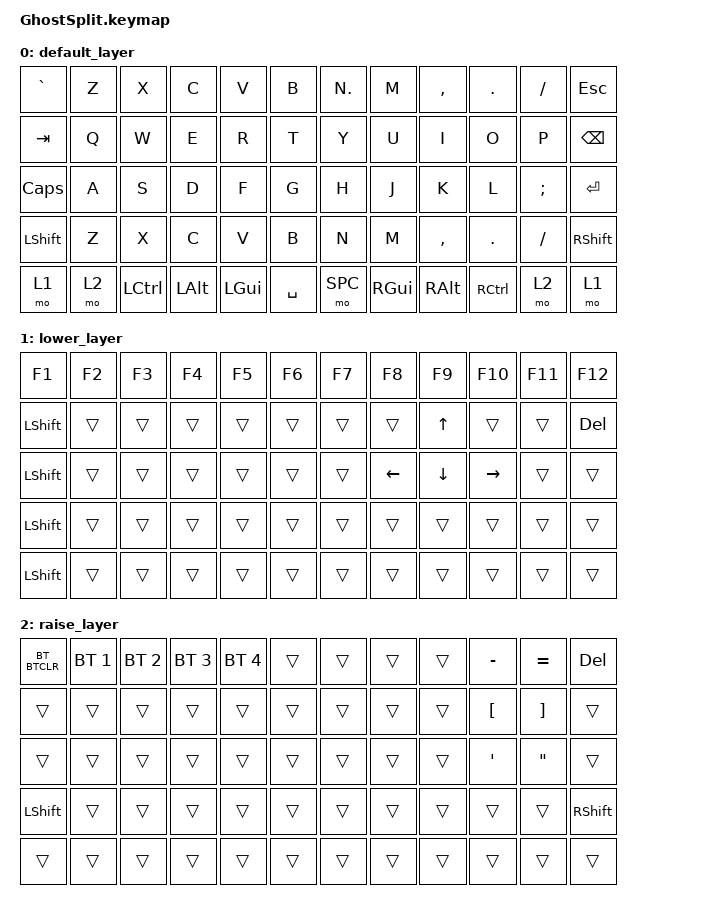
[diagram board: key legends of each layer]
/*
 * Copyright (c) 2020 The ZMK Contributors
 *
 * SPDX-License-Identifier: MIT
 */

#include <behaviors.dtsi>
#include <dt-bindings/zmk/keys.h>
#include <dt-bindings/zmk/bt.h>

/ {
        keymap {
                compatible = "zmk,keymap";

                default_layer {
// -----------------------------------------------------------------------------------------
// |  `   |  1  |  2  |  3  |  4  |  5  |   |  6  |  7   |  8  |  9  |  0  | BKSP |
// | TAB  |  Q  |  W  |  E  |  R  |  T  |   |  Y  |  U   |  I  |  O  |  P  |  \   |
// | CAP  |  A  |  S  |  D  |  F  |  G  |   |  H  |  J   |  K  |  L  |  ;  | ENT  |
// |LSHFT |  Z  |  X  |  C  |  V  |  B  |   |  N  |  M   |  ,  |  .  |  /  | RSHFT|
// | FN1  | FN2 |LCTRL|LALT |LGUI | SPC |   | SPC | RGUI | RALT|RCTRL| FN2 | FN1  |


                        bindings = <
   &kp GRAVE       &kp Z      &kp X      &kp C     &kp V     &kp B           &kp N.   &kp M      &kp COMMA     &kp DOT      &kp FSLH     &kp ESC
   &kp TAB         &kp Q      &kp W      &kp E     &kp R     &kp T           &kp Y    &kp U      &kp I         &kp O        &kp P        &kp BSPC
   &kp CAPS        &kp A      &kp S      &kp D     &kp F     &kp G           &kp H    &kp J      &kp K         &kp L        &kp SEMI     &kp RET
   &kp LSHFT       &kp Z      &kp X      &kp C     &kp V     &kp B           &kp N    &kp M      &kp COMMA     &kp DOT      &kp FSLH     &kp RSHFT
   &mo 1           &mo 2      &kp LCTRL  &kp LALT  &kp LGUI  &kp SPC         &mo SPC  &kp RGUI   &kp RALT      &kp RCTL     &mo 2        &mo 1

                        >;
                };


                lower_layer {
// -----------------------------------------------------------------------------------------
// |  FN1 |FN2  |FN3  |FN4  |FN5  |FN6  |   | FN7 |FN8  |FN9  |FN10 | FN11| FN12 |
// |      |     |     |     |     |     |   |     |     |  UP |     |     | DEL  |
// |      |     |     |     |     |     |   |     |  LF |  DN |  RT |     |      |
// | LSHFT|     |     |     |     |     |   |     |     |     |     |     |      |
// |      |     |     |     |     |     |   |     |     |     |     |     |      |



                        bindings = < 
   &kp F1        &kp F2       &kp F3       &kp F4       &kp F5       &kp F6         &kp F7       &kp F8           &kp F9        &kp F10  	 &kp F11        &kp F12 
   &kp LSHFT     &trans       &trans       &trans       &trans       &trans         &trans  	 &trans  	  &kp UP	&trans 	  	 &trans 	&kp DEL
   &kp LSHFT     &trans       &trans       &trans       &trans       &trans         &trans  	 &kp LEFT 	  &kp DOWN 	&kp RIGHT 	 &trans 	&trans
   &kp LSHFT  	 &trans       &trans       &trans       &trans       &trans         &trans  	 &trans 	  &trans 	&trans   	 &trans 	&trans
   &kp LSHFT  	 &trans       &trans       &trans       &trans       &trans         &trans     	 &trans  	  &trans 	&trans    	 &trans 	&trans
                        >;	
                };



                raise_layer {
// -----------------------------------------------------------------------------------------
// | BTCLR| BT1 | BT2 | BT3 | BT4 |     |   |     |     |     |  -  |  =  | DEL  |
// |      |     |     |     |     |     |   |     |     |     |  [  |  ]  |      |
// |      |     |     |     |     |     |   |     |     |     |  '  |  "  |      |
// | LSHFT|     |     |     |     |     |   |     |     |     |     |     |RSHFT |
// |      |     |     |     |     |     |   |     |     |     |     |     |      |



                        bindings = <
   &bt BTCLR     &bt BT_SEL 1 &bt BT_SEL 2 &bt BT_SEL 3 &bt BT_SEL 4 &trans         &trans  	 &trans 	  &trans 	&kp MINUS &kp EQUAL 	&kp DEL
   &trans        &trans       &trans       &trans       &trans       &trans         &trans  	 &trans  	  &trans 	&kp LBKT  &kp RBKT 	&trans
   &trans        &trans       &trans       &trans       &trans       &trans         &trans  	 &trans  	  &trans 	&kp APOS  &kp DQT 	&trans
   &kp LSHFT  	 &trans       &trans       &trans       &trans       &trans         &trans  	 &trans 	  &trans 	&trans    &trans 	&kp RSHFT
   &trans  	 &trans       &trans       &trans       &trans       &trans         &trans    	 &trans  	  &trans 	&trans    &trans 	&trans
                        >;
                };
        };
};
